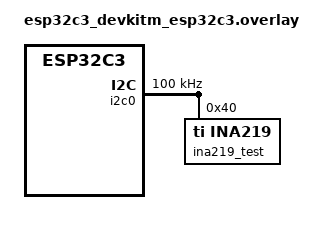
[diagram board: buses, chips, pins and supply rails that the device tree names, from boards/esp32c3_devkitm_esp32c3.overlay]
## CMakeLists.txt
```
cmake_minimum_required(VERSION 3.20.0)

list(APPEND BOARD_ROOT ${CMAKE_CURRENT_SOURCE_DIR})

find_package(Zephyr REQUIRED HINTS $ENV{ZEPHYR_BASE})
project(esp32c3_app)

find_package(Python3 REQUIRED COMPONENTS Interpreter)

add_subdirectory(subsys/connectivity)
add_subdirectory(subsys/services/secure_workspace)

target_sources(app PRIVATE
  subsys/services/service_manager.c
  subsys/services/service_thread.c
  subsys/services/service_registry.c
)

add_custom_target(spaghetti_validator
  COMMAND
    ${Python3_EXECUTABLE}
    ${CMAKE_CURRENT_SOURCE_DIR}/validator
    --cmake-sources
    "$<TARGET_GENEX_EVAL:app,$<JOIN:$<TARGET_PROPERTY:app,SOURCES>,|>>"
    --cmake-includes
    "$<TARGET_GENEX_EVAL:app,$<JOIN:$<TARGET_PROPERTY:app,INCLUDE_DIRECTORIES>,|>>"
  WORKING_DIRECTORY ${CMAKE_CURRENT_SOURCE_DIR}
  DEPENDS
    ${CMAKE_CURRENT_SOURCE_DIR}/validator
    ${CMAKE_CURRENT_SOURCE_DIR}/FIRMWARE_IMPLEMENTATION_GUIDE.md
  COMMENT "Validating Spaghetti LAB firmware conventions"
  VERBATIM
  USES_TERMINAL
)

add_dependencies(app spaghetti_validator)

target_sources(app PRIVATE
  src/main.c
  spaghetti_modules/ina219/ina219.c
  spaghetti_modules/relay/relay.c
  spaghetti_modules/declarative_device/declarative_device.c
  spaghetti_modules/digital_input_trigger/digital_input_trigger.c
  spaghetti_modules/digital_line_set/digital_line_set.c
  spaghetti_modules/on_boot/on_boot.c
  spaghetti_rules/threshold/threshold.c
  spaghetti_blocks/blocks_math.c
  spaghetti_blocks/blocks_bitwise.c
  spaghetti_blocks/blocks_filter.c
  spaghetti_blocks/blocks_logic.c
  spaghetti_blocks/blocks_table.c
  spaghetti_blocks/blocks_publish.c
  spaghetti_blocks/blocks_kalman.c
  subsys/core/capabilities.c
  subsys/core/core.c
  subsys/core/core_boot_backend.c
  subsys/core/factory_reset.c
  subsys/core/health.c
  subsys/feature_registry/feature_registry.c
  subsys/feature_registry/image_manifest.c
  subsys/feature_registry/pack_core_basic.c
  subsys/feature_registry/pack_processing_basic.c
  subsys/feature_registry/pack_processing_kalman.c
  subsys/feature_registry/pack_device_profile.c
  subsys/feature_registry/pack_transport_modbus.c
  subsys/resources/resources.c
  subsys/resources/resources_note_weak.c
  subsys/port/port.c
  subsys/port/port_backend_board.c
  subsys/topology/topology.c
  subsys/schema/schema.c
  subsys/device_profiles/device_profile.c
  subsys/device_profiles/device_profile_exec.c
  subsys/driver_registry/driver_registry.c
  subsys/rule_registry/rule_registry.c
  subsys/block_registry/block_registry.c
  subsys/module_manager/module_manager.c
  subsys/discovery/discovery.c
  subsys/discovery/identity_record.c
  subsys/config/config.c
  subsys/config/config_cbor.c
  subsys/config/config_cbor_legacy.c
  subsys/config/legacy_driver_config.c
  subsys/services/storage/storage.c
  subsys/services/storage/storage_legacy_v3.c
  subsys/services/identity/identity.c
  subsys/services/identity/access_control.c
  subsys/services/maintenance_link/maintenance_link.c
  subsys/services/maintenance_link/maintenance_mgmt.c
  subsys/services/ota/ota.c
  subsys/services/ota/ota_ble.c
  subsys/services/update/update.c
  subsys/services/update/update_mcuboot.c
  subsys/data/data.c
  subsys/data/record_delivery.c
  subsys/data/record_consumer_ble.c
  subsys/services/timer/timer.c
  subsys/processing/processing.c
  subsys/runtime/runtime.c
  subsys/communication/communication.c
  subsys/communication/protocol_cbor.c
  subsys/communication/protocol_status.c
  subsys/communication/ops_helpers.c
  subsys/communication/communication_shell.c
  subsys/communication/usb_protocol_framing.c
  subsys/communication/usb_protocol.c
  subsys/communication/remote_console.c
  subsys/communication/operations/catalog.c
  subsys/communication/operations/status.c
  subsys/communication/operations/config_ops.c
  subsys/communication/operations/discovery_ops.c
  subsys/communication/operations/module_command.c
  subsys/communication/operations/update_ops.c
  subsys/communication/operations/capabilities_ops.c
  subsys/communication/operations/connectivity_ops.c
  subsys/communication/operations/reset_ops.c
  subsys/communication/operations/audit_ops.c
  subsys/communication/operations/job_ops.c
  subsys/communication/operations/topology_ops.c
  subsys/communication/operations/resources_ops.c
  subsys/communication/operations/features_ops.c
  subsys/communication/operations/device_profile_ops.c
  subsys/services/mqtt/mqtt_credentials.c
)

if(CONFIG_WIFI)
  target_sources(app PRIVATE
    subsys/services/wifi_profiles/wifi_profiles.c
    subsys/services/wifi_profiles/wifi_profiles_storage.c
    subsys/services/ota/ota_dtls.c
  )
else()
  target_sources(app PRIVATE
    subsys/services/wifi_profiles/wifi_profiles_disabled.c
    subsys/services/ota/ota_dtls_disabled.c
  )
endif()

if(CONFIG_MQTT_LIB)
  target_sources(app PRIVATE
    subsys/services/mqtt/mqtt.c
  )
else()
  target_sources(app PRIVATE
    subsys/services/mqtt/mqtt_disabled.c
  )
endif()

if(CONFIG_SPAGHETTI_REMOTE_CONSOLE)
  target_sources(app PRIVATE
    subsys/communication/remote_console_tls.c
  )
else()
  target_sources(app PRIVATE
    subsys/communication/remote_console_disabled.c
  )
endif()

if(CONFIG_BT)
  target_sources(app PRIVATE
    subsys/communication/ble.c
  )
else()
  target_sources(app PRIVATE
    subsys/communication/ble_disabled.c
  )
endif()

target_sources_ifdef(CONFIG_SPAGHETTI_POWER app PRIVATE
  subsys/power/power.c
)

target_sources_ifdef(CONFIG_SPAGHETTI_ENERGY app PRIVATE
  subsys/power/energy.c
)

zephyr_linker_sources(SECTIONS subsys/core/health_sections.ld)
zephyr_linker_sources(SECTIONS subsys/driver_registry/driver_sections.ld)
zephyr_linker_sources(SECTIONS subsys/rule_registry/rule_sections.ld)
zephyr_linker_sources(SECTIONS subsys/block_registry/block_sections.ld)
zephyr_linker_sources(SECTIONS subsys/device_profiles/device_profile_sections.ld)
zephyr_linker_sources(SECTIONS subsys/data/record_delivery_sections.ld)
zephyr_linker_sources(SECTIONS subsys/feature_registry/feature_pack_sections.ld)
zephyr_linker_sources(SECTIONS subsys/discovery/discovery_sections.ld)
zephyr_linker_sources(SECTIONS subsys/communication/operation_sections.ld)

get_target_property(APP_SRCS app SOURCES)

message(STATUS "========== APP SOURCES ==========")
foreach(src ${APP_SRCS})
    message(STATUS "  ${src}")
endforeach()

target_include_directories(app PRIVATE
  ${CMAKE_CURRENT_SOURCE_DIR}/include
  ${CMAKE_CURRENT_SOURCE_DIR}/spaghetti_modules/ina219
  ${CMAKE_CURRENT_SOURCE_DIR}/spaghetti_modules/relay
  ${CMAKE_CURRENT_SOURCE_DIR}/spaghetti_modules/declarative_device
  ${CMAKE_CURRENT_SOURCE_DIR}/spaghetti_modules/digital_input_trigger
  ${CMAKE_CURRENT_SOURCE_DIR}/spaghetti_modules/digital_line_set
  ${CMAKE_CURRENT_SOURCE_DIR}/spaghetti_modules/on_boot
  ${CMAKE_CURRENT_SOURCE_DIR}/spaghetti_rules/threshold
  ${CMAKE_CURRENT_SOURCE_DIR}/spaghetti_blocks
)

get_target_property(APP_INCLUDES app INCLUDE_DIRECTORIES)

message(STATUS "========== APP INCLUDE DIRS ==========")

foreach(dir ${APP_INCLUDES})
    message(STATUS "  ${dir}")
endforeach()

message(STATUS "======================================")
```

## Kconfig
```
module = SPAGHETTI_APP
module-str = spaghetti_app
source "subsys/logging/Kconfig.template.log_config"

module = SPAGHETTI_CORE
module-str = spaghetti_core
source "subsys/logging/Kconfig.template.log_config"

module = SPAGHETTI_IDENTITY
module-str = spaghetti_identity
source "subsys/logging/Kconfig.template.log_config"

module = SPAGHETTI_ACCESS_CONTROL
module-str = spaghetti_access_control
source "subsys/logging/Kconfig.template.log_config"

module = SPAGHETTI_FACTORY_RESET
module-str = spaghetti_factory_reset
source "subsys/logging/Kconfig.template.log_config"

rsource "subsys/core/Kconfig.health"

module = SPAGHETTI_PORT
module-str = spaghetti_port
source "subsys/logging/Kconfig.template.log_config"

module = SPAGHETTI_TOPOLOGY
module-str = spaghetti_topology
source "subsys/logging/Kconfig.template.log_config"

module = SPAGHETTI_SCHEMA
module-str = spaghetti_schema
source "subsys/logging/Kconfig.template.log_config"

module = SPAGHETTI_DRIVER_REGISTRY
module-str = spaghetti_driver_registry
source "subsys/logging/Kconfig.template.log_config"

module = SPAGHETTI_DEVICE_PROFILE
module-str = spaghetti_device_profile
source "subsys/logging/Kconfig.template.log_config"

module = SPAGHETTI_DECLARATIVE_DEVICE
module-str = spaghetti_declarative_device
source "subsys/logging/Kconfig.template.log_config"

module = SPAGHETTI_MODULE_MANAGER
module-str = spaghetti_module_manager
source "subsys/logging/Kconfig.template.log_config"

module = SPAGHETTI_DISCOVERY
module-str = spaghetti_discovery
source "subsys/logging/Kconfig.template.log_config"

module = SPAGHETTI_POWER
module-str = spaghetti_power
source "subsys/logging/Kconfig.template.log_config"

rsource "subsys/power/Kconfig"

module = SPAGHETTI_CONFIG
module-str = spaghetti_config
source "subsys/logging/Kconfig.template.log_config"

module = SPAGHETTI_RULE_REGISTRY
module-str = spaghetti_rule_registry
source "subsys/logging/Kconfig.template.log_config"

module = SPAGHETTI_BLOCK_REGISTRY
module-str = spaghetti_block_registry
source "subsys/logging/Kconfig.template.log_config"

module = SPAGHETTI_PROCESSING
module-str = spaghetti_processing
source "subsys/logging/Kconfig.template.log_config"

module = SPAGHETTI_STORAGE
module-str = spaghetti_storage
source "subsys/logging/Kconfig.template.log_config"

module = SPAGHETTI_UPDATE
module-str = spaghetti_update
source "subsys/logging/Kconfig.template.log_config"

module = SPAGHETTI_MAINTENANCE_LINK
module-str = spaghetti_maintenance_link
source "subsys/logging/Kconfig.template.log_config"

module = SPAGHETTI_OTA
module-str = spaghetti_ota
source "subsys/logging/Kconfig.template.log_config"

module = SPAGHETTI_DATA
module-str = spaghetti_data
source "subsys/logging/Kconfig.template.log_config"

module = SPAGHETTI_RECORD_DELIVERY
module-str = spaghetti_record_delivery
source "subsys/logging/Kconfig.template.log_config"

module = SPAGHETTI_RUNTIME
module-str = spaghetti_runtime
source "subsys/logging/Kconfig.template.log_config"

module = SPAGHETTI_THRESHOLD
module-str = spaghetti_threshold
source "subsys/logging/Kconfig.template.log_config"

module = SPAGHETTI_COMMUNICATION
module-str = spaghetti_communication
source "subsys/logging/Kconfig.template.log_config"

module = SPAGHETTI_REMOTE_CONSOLE
module-str = spaghetti_remote_console
source "subsys/logging/Kconfig.template.log_config"

module = SPAGHETTI_BLE
module-str = spaghetti_ble
source "subsys/logging/Kconfig.template.log_config"

module = SPAGHETTI_MQTT
module-str = spaghetti_mqtt
source "subsys/logging/Kconfig.template.log_config"

module = SPAGHETTI_WIFI_PROFILES
module-str = spaghetti_wifi_profiles
source "subsys/logging/Kconfig.template.log_config"

module = SPAGHETTI_SERVICE_MANAGER
module-str = spaghetti_service_manager
source "subsys/logging/Kconfig.template.log_config"

module = SPAGHETTI_INA219
module-str = spaghetti_ina219
source "subsys/logging/Kconfig.template.log_config"

module = SPAGHETTI_RELAY
module-str = spaghetti_relay
source "subsys/logging/Kconfig.template.log_config"

rsource "Kconfig.resources"
rsource "subsys/connectivity/Kconfig"
rsource "subsys/services/secure_workspace/Kconfig"
rsource "subsys/feature_registry/Kconfig"
rsource "subsys/resources/Kconfig"

config SPAGHETTI_SERVICE_MAX_COUNT
	int "Maximum registered optional services"
	range 1 16
	default 4
	help
	  Fixed Service Manager state slots. Descriptors and operation tables remain
	  firmware-owned and are never copied to the heap.

config SPAGHETTI_SERVICE_ID_MAX_SIZE
	int "Maximum service ID bytes including NUL"
	range 8 32
	default 24

config SPAGHETTI_SERVICE_STOP_MAX_MS
	int "Maximum optional-service stop wait in milliseconds"
	range 1 30000
	default 10000
	help
	  K_FOREVER is rejected so every lifecycle transition has a deadline.

config SPAGHETTI_SERVICE_THREAD_MAX_COUNT
	int "Maximum simultaneous optional-service threads"
	range 1 16
	default 4 if SPAGHETTI_RESOURCE_PROFILE_MINIMAL
	default 6 if SPAGHETTI_RESOURCE_PROFILE_STANDARD
	default 8

config SPAGHETTI_SERVICE_THREAD_MAX_STACK_BYTES
	int "Maximum simultaneous optional-service stack bytes"
	range 4096 65536
	default 16384 if SPAGHETTI_RESOURCE_PROFILE_MINIMAL
	default 24576 if SPAGHETTI_RESOURCE_PROFILE_STANDARD
	default 32768
	help
	  Admission limit applied before heap-backed dynamic stack allocation.
	  A stopped and joined service returns its complete stack to the common heap.

config HEAP_MEM_POOL_SIZE
	default 20480 if SPAGHETTI_RESOURCE_PROFILE_MINIMAL
	default 28672 if SPAGHETTI_RESOURCE_PROFILE_STANDARD
	default 36864 if SPAGHETTI_RESOURCE_PROFILE_EXTENDED
	help
	  Reserve the Zephyr system heap used by k_thread_stack_alloc(). Each value
	  covers the corresponding Spaghetti optional-stack admission limit plus
	  allocator metadata and alignment overhead.

config SPAGHETTI_DISCOVERY_MAX_RESULTS
	int "Maximum number of retained Discovery candidates"
	range 1 SPAGHETTI_MAX_MODULES
	default SPAGHETTI_MAX_MODULES
	help
	  Fixed capacity of the Discovery candidate table. Several candidates may
	  reference the same physical Port. Manual Modules do not consume slots.

config SPAGHETTI_POWER
	bool "Enable shared controllable power resources"
	default n
	help
	  Enable only when the selected Core has a verified controllable rail.
	  Core V1 has no such hardware and must leave this disabled.

config SPAGHETTI_POWER_FAKE_BACKEND
	bool
	depends on SPAGHETTI_POWER
	default n
	help
	  Test-only backend that exposes resource 0 without physical hardware.

config SPAGHETTI_INA219_MAX_INSTANCES
	int "Maximum number of simultaneous INA219 instances"
	range 1 SPAGHETTI_MAX_MODULES
	default 4
	help
	  Number of typed INA219 contexts reserved in the driver-owned memory
	  slab. Allocation is non-blocking and does not use the heap.

config SPAGHETTI_RELAY_MAX_INSTANCES
	int "Maximum number of simultaneous Relay instances"
	range 1 SPAGHETTI_MAX_MODULES
	default 4
	help
	  Number of typed Relay contexts reserved in the driver-owned memory slab.
	  Allocation is non-blocking and does not use the heap.

config SPAGHETTI_DECLARATIVE_DEVICE_MAX_INSTANCES
	int "Maximum simultaneous declarative-device instances"
	range 1 SPAGHETTI_MAX_MODULES
	default 4
	help
	  Number of typed declarative-device contexts reserved in the driver-owned
	  memory slab. Allocation is non-blocking and does not use the heap.

config SPAGHETTI_DATA_LOGGER
	bool "Enable the Data record logger consumer"
	default y
	help
	  Start one bounded thread that drains the record logger subscriber
	  and writes schema-agnostic records through Zephyr logging.

config SPAGHETTI_DATA_LOGGER_STACK_SIZE
	int "Data record logger stack size"
	depends on SPAGHETTI_DATA_LOGGER
	range 1024 8192
	default 2048
	help
	  Static stack bytes reserved for the record logger consumer. Must fit
	  one spaghetti_record plus logging locals.

config SPAGHETTI_DATA_LOGGER_PRIORITY
	int "Data record logger thread priority"
	depends on SPAGHETTI_DATA_LOGGER
	range 0 15
	default 5
	help
	  Cooperative-independent preemptive priority used by the logger thread.

config SPAGHETTI_RUNTIME_STACK_SIZE
	int "Runtime worker thread stack size"
	range 2048 8192
	default 3072
	help
	  Static stack bytes reserved for the Runtime worker. Must fit one
	  spaghetti_record plus schedule and rule locals.

config SPAGHETTI_RUNTIME_PRIORITY
	int "Runtime worker thread priority"
	range 0 14
	default 4
	help
	  Preemptive priority used by the Runtime worker. The default is one
	  level above the Data logger so acquisition is not delayed by logging.

config SPAGHETTI_RUNTIME_STOP_TIMEOUT_MS
	int "Runtime stop timeout in milliseconds"
	range 10 5000
	default 1000
	help
	  Maximum time Config waits for an active sampling operation to finish
	  before it refuses to replace live Modules.

config SPAGHETTI_THRESHOLD_MAX_INSTANCES
	int "Maximum simultaneous Threshold rule instances"
	range 1 SPAGHETTI_MAX_RULES
	default SPAGHETTI_MAX_RULES
	help
	  Number of typed Threshold contexts reserved in the rule-owned memory
	  slab. Allocation is non-blocking and does not use the heap.

config SPAGHETTI_UPDATE_WORK_STACK_SIZE
	int "Update cleanup workqueue stack size"
	range 768 4096
	default 1024
	help
	  Static stack bytes reserved for timeout cleanup of the secondary image.

config SPAGHETTI_UPDATE_WORK_PRIORITY
	int "Update cleanup workqueue priority"
	range 0 15
	default 5
	help
	  Preemptive priority used by the Update-owned flash cleanup workqueue.

config SPAGHETTI_BOOTSTRAP_PROBE_MS
	int "Receive-only maintenance bootstrap window in milliseconds"
	range 10 5000
	default 500
	help
	  Maximum boot-time receive-only probe used when a valid Config exists.

config SPAGHETTI_TRIAL_HEALTH_MS
	int "Trial image health window in milliseconds"
	range 100 60000
	default 5000
	help
	  Stable RUNNING time required before Core confirms a trial image.

config SPAGHETTI_MAINTENANCE_SESSION_MS
	int "Maximum local firmware-upload session in milliseconds"
	range 10000 900000
	default 300000
	help
	  Absolute Update deadline opened by the first accepted UART image chunk.

config SPAGHETTI_MAINTENANCE_REBOOT_DELAY_MS
	int "Delay before reboot after a maintenance response"
	range 100 5000
	default 500
	help
	  Time reserved for the final SMP UART response to leave the transmitter.

config SPAGHETTI_OTA_PORT
	int "Authenticated OTA UDP port"
	range 1024 65535
	default 1337
	help
	  UDP port opened only during an authenticated OTA window.

config SPAGHETTI_OTA_MAX_WINDOW_MS
	int "Maximum authenticated OTA window in milliseconds"
	range 10000 900000
	default 300000
	help
	  Upper bound accepted from the local maintenance command. The complete
	  transfer, including interruptions and retries, must finish in this time.

config SPAGHETTI_OTA_MTU
	int "Maximum OTA SMP datagram bytes"
	range 256 1024
	default 512
	help
	  Maximum complete SMP request or response carried by one DTLS datagram.

config SPAGHETTI_OTA_BLE_RESUME_MS
	int "BLE OTA disconnect resume window in milliseconds"
	range 100 60000
	default 10000
	help
	  After a BLE peer disconnect during an active BLE Update session, the
	  adapter waits this long for the same session to continue. On expiry
	  the secondary candidate is cancelled without touching the confirmed
	  image.

config SPAGHETTI_OTA_BLE_WINDOW_MS
	int "BLE OTA whole-session timeout in milliseconds"
	range 10000 900000
	default 300000
	help
	  Absolute Update arm timeout used when a BLE adapter opens a session.

config SPAGHETTI_OTA_LISTENER_STACK_SIZE
	int "OTA DTLS listener stack bytes"
	range 2048 8192
	default 4096
	help
	  Static stack reserved for the authenticated DTLS receive thread.

config SPAGHETTI_OTA_WORK_STACK_SIZE
	int "OTA lifecycle workqueue stack bytes"
	range 1024 4096
	default 1536
	help
	  Static stack reserved for timeout and cleanup operations.

config SPAGHETTI_REMOTE_CONSOLE_PORT
	int "Authenticated remote-console TCP port"
	range 1024 65535
	default 1338
	help
	  TCP port used by the TLS-PSK remote console. The listener is opened only
	  in Normal mode and only when a dedicated credential is provisioned.

config SPAGHETTI_REMOTE_CONSOLE_STACK_SIZE
	int "Remote-console listener stack bytes"
	range 4096 12288
	default 6144
	help
	  Static stack reserved for the TLS socket and bounded command dispatcher.

config SPAGHETTI_REMOTE_CONSOLE_PRIORITY
	int "Remote-console listener priority"
	range 0 15
	default 5
	help
	  Preemptive priority of the single-client remote-console thread.

config SPAGHETTI_REMOTE_CONSOLE_LINE_SIZE
	int "Maximum remote command line bytes"
	range 128 1024
	default 600
	help
	  Fixed input buffer including the terminating null byte.

config SPAGHETTI_REMOTE_CONSOLE_RESPONSE_SIZE
	int "Maximum formatted remote response bytes"
	range 128 1024
	default 256
	help
	  Fixed temporary buffer used for one formatted response line.

config SPAGHETTI_REMOTE_CONSOLE_LOG_CHUNK_SIZE
	int "Maximum copied log chunk bytes"
	range 64 512
	default 256
	help
	  Fixed size of each log copy. Longer backend fragments are truncated.

config SPAGHETTI_REMOTE_CONSOLE_LOG_QUEUE_DEPTH
	int "Remote-console log queue depth"
	range 2 32
	default 8
	help
	  Number of static log chunks. The oldest chunk is dropped when full.

config SPAGHETTI_REMOTE_CONSOLE_POLL_MS
	int "Remote-console poll period in milliseconds"
	range 10 1000
	default 100
	help
	  Maximum delay for socket events and queued log forwarding.

config SPAGHETTI_REMOTE_CONSOLE_IDLE_TIMEOUT_MS
	int "Remote-console inactivity timeout in milliseconds"
	range 10000 3600000
	default 300000
	help
	  A connected authenticated client is closed after this idle interval.

config SPAGHETTI_REMOTE_CONSOLE_CREDENTIAL_INPUT_TIMEOUT_SECONDS
	int "USB remote-console credential input timeout in seconds"
	range 10 300
	default 60
	help
	  Maximum hidden-input wait used only by the local development USB Shell.

config SPAGHETTI_BLE
	bool
	default y
	depends on BT
	help
	  Compile the authenticated BLE Protocol V1 adapter. Selected automatically
	  when CONFIG_BT is enabled so capability snapshots stay accurate.

config SPAGHETTI_BLE_REASSEMBLY_TIMEOUT_MS
	int "BLE request reassembly timeout in milliseconds"
	depends on BT
	range 100 60000
	default 5000
	help
	  Incomplete framed requests are discarded after this idle interval.

config SPAGHETTI_BLE_EVENT_CREDIT
	int "BLE event notify credit per authenticated peer"
	depends on BT
	range 1 16
	default 4
	help
	  Bounded notify credit. Exhausted credit increments event_dropped.

config SPAGHETTI_OTA_WORK_PRIORITY
	int "OTA lifecycle workqueue priority"
	range 0 15
	default 5
	help
	  Preemptive priority shared by the OTA lifecycle and receive threads.

config SPAGHETTI_MQTT_QUEUE_DEPTH
	int "MQTT outbound publication queue depth"
	range 1 16
	default 4
	help
	  Fixed number of copied best-effort record publications retained while the
	  network or broker is unavailable. A full queue drops the newest record.
	  Priority state/response publications use a separate pool.

config SPAGHETTI_MQTT_PRIORITY_QUEUE_DEPTH
	int "MQTT priority (state/response) queue depth"
	range 1 16
	default 4
	help
	  Fixed number of QoS 1 state and response publications. A full priority
	  queue returns -ENOMSG without silently dropping config/command work.

config SPAGHETTI_MQTT_WORKER_STACK_SIZE
	int "MQTT network worker stack size"
	range 2048 8192
	default 4096
	help
	  Static stack bytes reserved for DNS, socket, and MQTT client work.

config SPAGHETTI_MQTT_ADAPTER_STACK_SIZE
	int "MQTT Data adapter stack size"
	range 1024 4096
	default 2048
	help
	  Static stack bytes reserved for Record Delivery peek/ack and Protocol V1
	  event encoding into the outbound publication queues.

config SPAGHETTI_MQTT_PRIORITY
	int "MQTT worker and adapter priority"
	range 0 15
	default 5
	help
	  Preemptive priority used by both MQTT-owned threads.

config SPAGHETTI_MQTT_STOP_TIMEOUT_MS
	int "MQTT stop timeout in milliseconds"
	range 100 10000
	default 2000
	help
	  Maximum time Config waits for the worker to stop before rejecting a new
	  MQTT configuration.

config SPAGHETTI_MQTT_ALLOW_PLAINTEXT_DEVELOPMENT
	bool "Allow MQTT plaintext development transport"
	default n
	help
	  When disabled (production default), Config cannot select
	  SPAGHETTI_MQTT_SECURITY_PLAINTEXT_DEVELOPMENT. Enable only on
	  development boards that intentionally talk to a cleartext broker.

config SPAGHETTI_MQTT_CREDENTIAL_SLOTS
	int "MQTT credential vault slots"
	range 1 8
	default 4
	help
	  Number of PSA ITS credential records addressable by credential_id 1..N.

config SPAGHETTI_MQTT_CREDENTIAL_CA_MAX_SIZE
	int "Maximum MQTT CA certificate bytes"
	range 32 2048
	default 512
	help
	  Upper bound for borrowed CA material stored in one credential record.

config SPAGHETTI_MQTT_CREDENTIAL_CERT_MAX_SIZE
	int "Maximum MQTT client certificate bytes"
	range 32 2048
	default 512
	help
	  Upper bound for borrowed client certificate material.

config SPAGHETTI_MQTT_CREDENTIAL_KEY_MAX_SIZE
	int "Maximum MQTT private key bytes"
	range 32 2048
	default 512
	help
	  Upper bound for borrowed private key material.

config SPAGHETTI_MQTT_TEST_HOOKS
	bool "Expose MQTT transport test hooks"
	depends on ZTEST
	default y if ZTEST
	help
	  Allows native tests to inject a stub broker transport and request
	  payloads without opening real sockets.

config SPAGHETTI_WIFI_PROFILE_MAX_COUNT
	int "Maximum number of persistent Wi-Fi profiles"
	range 1 8
	default 4
	help
	  Fixed number of encrypted profile slots. The service uses no heap, so a
	  larger value reserves more static RAM and persistent records.

config SPAGHETTI_WIFI_PROFILE_AUTO_CONNECT
	bool "Automatically connect to a known Wi-Fi network"
	default y
	help
	  Scan after boot and disconnection. A visible preferred profile is tried
	  first; other visible profiles are tried by descending signal strength.

config SPAGHETTI_WIFI_PROFILE_WORKER_STACK_SIZE
	int "Wi-Fi profile worker stack size"
	depends on SPAGHETTI_WIFI_PROFILE_AUTO_CONNECT
	range 2048 8192
	default 4096

config SPAGHETTI_WIFI_PROFILE_WORKER_PRIORITY
	int "Wi-Fi profile worker priority"
	depends on SPAGHETTI_WIFI_PROFILE_AUTO_CONNECT
	range 0 15
	default 5

config SPAGHETTI_WIFI_PROFILE_STARTUP_DELAY_MS
	int "Delay before the first automatic Wi-Fi scan"
	depends on SPAGHETTI_WIFI_PROFILE_AUTO_CONNECT
	range 0 10000
	default 3000
	help
	  Give the SoC radio and network stack time to settle after boot before the
	  first automatic scan. Later manual reconnects and retries are immediate.

config SPAGHETTI_WIFI_SCAN_TIMEOUT_SECONDS
	int "Wi-Fi scan timeout in seconds"
	depends on SPAGHETTI_WIFI_PROFILE_AUTO_CONNECT
	range 1 60
	default 15

config SPAGHETTI_WIFI_CONNECT_TIMEOUT_SECONDS
	int "Wi-Fi connection timeout in seconds"
	depends on SPAGHETTI_WIFI_PROFILE_AUTO_CONNECT
	range 1 120
	default 30

config SPAGHETTI_WIFI_DISCONNECT_TIMEOUT_SECONDS
	int "Wi-Fi disconnection timeout in seconds"
	depends on SPAGHETTI_WIFI_PROFILE_AUTO_CONNECT
	range 1 30
	default 5

config SPAGHETTI_WIFI_RETRY_SECONDS
	int "Wi-Fi reselection interval in seconds"
	depends on SPAGHETTI_WIFI_PROFILE_AUTO_CONNECT
	range 1 3600
	default 30

config SPAGHETTI_WIFI_PASSWORD_INPUT_TIMEOUT_SECONDS
	int "Hidden Wi-Fi password prompt timeout in seconds"
	range 10 300
	default 60

source "Kconfig.zephyr"
```

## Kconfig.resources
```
choice SPAGHETTI_RESOURCE_PROFILE
	prompt "Spaghetti LAB resource profile"
	default SPAGHETTI_RESOURCE_PROFILE_MINIMAL if BOARD_SPAGHETTILAB_CORE_V1
	default SPAGHETTI_RESOURCE_PROFILE_MINIMAL if BOARD_SPAGHETTILAB_CORE_V2_BUILD_ONLY
	default SPAGHETTI_RESOURCE_PROFILE_MINIMAL
	help
	  Select one build-time resource budget. Runtime free memory never changes
	  this choice or the fixed capacities derived from it.

config SPAGHETTI_RESOURCE_PROFILE_MINIMAL
	bool "Minimal"
	help
	  ESP32-C3-class profile with one heavy secure session and no production
	  remote console.

config SPAGHETTI_RESOURCE_PROFILE_STANDARD
	bool "Standard"
	help
	  Mid-range profile with larger bounded pools and optional remote console.

config SPAGHETTI_RESOURCE_PROFILE_EXTENDED
	bool "Extended"
	help
	  Profile for a Core with verified additional RAM and larger bounded pools.

endchoice

config SPAGHETTI_CORE_VARIANT
	string
	default "core-v1-esp32c3" if BOARD_SPAGHETTILAB_CORE_V1
	default "core-v2-build-only" if BOARD_SPAGHETTILAB_CORE_V2_BUILD_ONLY
	default "native-sim"
	help
	  Stable Core variant identifier published by the firmware artifact.

config SPAGHETTI_HAS_EXTERNAL_RAM
	bool
	default n
	help
	  Board-owned declaration that usable external RAM is physically present.

config SPAGHETTI_RUNTIME_PORT_MUX
	bool
	default n
	help
	  Board-owned declaration that Port signals have a real runtime pinmux
	  backend. Dynamic pinctrl support alone is not sufficient.

config SPAGHETTI_POWER_MEASUREMENT
	bool
	depends on SPAGHETTI_POWER
	default n
	help
	  Board-owned declaration that shared power resources can be measured.

config SPAGHETTI_REMOTE_CONSOLE
	bool "Compile the authenticated production remote console"
	default n if SPAGHETTI_RESOURCE_PROFILE_MINIMAL
	default y
	help
	  Compile the TLS remote-console backend. Minimal images retain local Shell
	  and maintenance APIs but use a small unsupported backend instead.

config SPAGHETTI_MAX_MODULES
	int "Maximum number of simultaneous runtime Modules"
	range 1 255
	default 8 if SPAGHETTI_RESOURCE_PROFILE_MINIMAL
	default 16 if SPAGHETTI_RESOURCE_PROFILE_STANDARD
	default 32

config SPAGHETTI_MAX_SCHEDULES
	int
	range 1 255
	default 8 if SPAGHETTI_RESOURCE_PROFILE_MINIMAL
	default 16 if SPAGHETTI_RESOURCE_PROFILE_STANDARD
	default 32

config SPAGHETTI_MAX_RULES
	int
	range 1 255
	default 4 if SPAGHETTI_RESOURCE_PROFILE_MINIMAL
	default 8 if SPAGHETTI_RESOURCE_PROFILE_STANDARD
	default 16

config SPAGHETTI_MAX_DEVICE_PROFILES
	int
	range 1 255
	default 8 if SPAGHETTI_RESOURCE_PROFILE_MINIMAL
	default 16 if SPAGHETTI_RESOURCE_PROFILE_STANDARD
	default 32

config SPAGHETTI_MAX_DEVICE_PROFILE_BYTES
	int
	range 128 4096
	default 512 if SPAGHETTI_RESOURCE_PROFILE_MINIMAL
	default 1024 if SPAGHETTI_RESOURCE_PROFILE_STANDARD
	default 2048

config SPAGHETTI_MAX_PROFILE_OPERATIONS
	int
	range 1 255
	default 16 if SPAGHETTI_RESOURCE_PROFILE_MINIMAL
	default 32 if SPAGHETTI_RESOURCE_PROFILE_STANDARD
	default 64

config SPAGHETTI_MAX_ACQUISITION_OPERATIONS
	int
	range 1 255
	default 16 if SPAGHETTI_RESOURCE_PROFILE_MINIMAL
	default 32 if SPAGHETTI_RESOURCE_PROFILE_STANDARD
	default 64

config SPAGHETTI_MAX_PROCESSING_BLOCKS
	int
	range 1 255
	default 16 if SPAGHETTI_RESOURCE_PROFILE_MINIMAL
	default 32 if SPAGHETTI_RESOURCE_PROFILE_STANDARD
	default 64

config SPAGHETTI_MAX_PROCESSING_EDGES
	int
	range 1 255
	default 24 if SPAGHETTI_RESOURCE_PROFILE_MINIMAL
	default 64 if SPAGHETTI_RESOURCE_PROFILE_STANDARD
	default 128

config SPAGHETTI_MAX_PROCESSING_CONTEXTS
	int
	range 1 255
	default 8 if SPAGHETTI_RESOURCE_PROFILE_MINIMAL
	default 16 if SPAGHETTI_RESOURCE_PROFILE_STANDARD
	default 32

config SPAGHETTI_PROCESSING_COST_BUDGET
	int "Maximum abstract cost units per trigger record"
	range 1 65535
	default 256 if SPAGHETTI_RESOURCE_PROFILE_MINIMAL
	default 512 if SPAGHETTI_RESOURCE_PROFILE_STANDARD
	default 1024
	help
	  Sum of block max_cost_per_record values spent while evaluating one
	  source record. Exceeding the budget aborts only that evaluation.

config SPAGHETTI_PROCESSING_DEPTH_MAX
	int "Maximum topological depth of a processing graph"
	range 1 255
	default 8 if SPAGHETTI_RESOURCE_PROFILE_MINIMAL
	default 16 if SPAGHETTI_RESOURCE_PROFILE_STANDARD
	default 32
	help
	  Longest path length accepted when compiling a processing DAG.

config SPAGHETTI_BLOCK_KALMAN
	bool "Compile the optional Kalman block driver"
	default n
	help
	  When enabled, the Kalman Block Driver is linked into the Block
	  Registry and may be instantiated from Config like any other block.

config SPAGHETTI_MAX_PROPERTIES_PER_SET
	int
	range 1 64
	default 12 if SPAGHETTI_RESOURCE_PROFILE_MINIMAL
	default 16 if SPAGHETTI_RESOURCE_PROFILE_STANDARD
	default 24

config SPAGHETTI_VALUE_BYTES_MAX
	int
	range 1 128
	default 16 if SPAGHETTI_RESOURCE_PROFILE_MINIMAL
	default 32 if SPAGHETTI_RESOURCE_PROFILE_STANDARD
	default 64
	help
	  Maximum owned opaque bytes in one SPAGHETTI_VALUE_BYTES field.

config SPAGHETTI_VALUE_TEXT_MAX
	int
	range 1 128
	default 32 if SPAGHETTI_RESOURCE_PROFILE_MINIMAL
	default 48 if SPAGHETTI_RESOURCE_PROFILE_STANDARD
	default 64
	help
	  Maximum UTF-8 payload bytes in one SPAGHETTI_VALUE_TEXT field,
	  excluding the mandatory terminating NUL.

config SPAGHETTI_MAX_PROTOCOL_PAYLOAD
	int
	range 128 2048
	default 512 if SPAGHETTI_RESOURCE_PROFILE_MINIMAL
	default 1024 if SPAGHETTI_RESOURCE_PROFILE_STANDARD
	default 2048

config SPAGHETTI_CONFIG_CBOR_MAX_SIZE
	int
	range 128 2048
	default SPAGHETTI_MAX_PROTOCOL_PAYLOAD
	help
	  Maximum accepted Config CBOR payload size for encode, decode, and
	  Storage persistence.

config SPAGHETTI_CONFIG_MIN_WRITE_INTERVAL_MS
	int
	range 0 60000
	default 1000
	help
	  Minimum wall-clock interval between distinct persistent Config writes.
	  Identical no-op applies do not consume the budget. Zero disables the
	  rate limit.

config SPAGHETTI_MAX_RECORD_QUEUE
	int "Maximum retained records in the delivery ring"
	range 1 255
	default 8 if SPAGHETTI_RESOURCE_PROFILE_MINIMAL
	default 16 if SPAGHETTI_RESOURCE_PROFILE_STANDARD
	default 32

config SPAGHETTI_MAX_RECORD_CONSUMERS
	int "Maximum compiled record delivery consumers"
	range 1 16
	default 3 if SPAGHETTI_RESOURCE_PROFILE_MINIMAL
	default 4 if SPAGHETTI_RESOURCE_PROFILE_STANDARD
	default 6

config SPAGHETTI_MAX_BLE_PEERS
	int
	range 1 8
	default 1 if SPAGHETTI_RESOURCE_PROFILE_MINIMAL
	default 2 if SPAGHETTI_RESOURCE_PROFILE_STANDARD
	default 4

config SPAGHETTI_MAX_PRINCIPALS
	int
	range 1 32
	default 4 if SPAGHETTI_RESOURCE_PROFILE_MINIMAL
	default 8 if SPAGHETTI_RESOURCE_PROFILE_STANDARD
	default 16

config SPAGHETTI_MAX_AUDIT_ENTRIES
	int
	range 1 64
	default 8 if SPAGHETTI_RESOURCE_PROFILE_MINIMAL
	default 16 if SPAGHETTI_RESOURCE_PROFILE_STANDARD
	default 32
	help
	  Bounded audit-ring capacity for principal-sensitive operations.

config SPAGHETTI_MAX_INFLIGHT_REQUESTS
	int
	range 1 32
	default 4 if SPAGHETTI_RESOURCE_PROFILE_MINIMAL
	default 8 if SPAGHETTI_RESOURCE_PROFILE_STANDARD
	default 16

config SPAGHETTI_MAX_SECURE_SESSIONS
	int
	range 1 1
	default 1 if SPAGHETTI_RESOURCE_PROFILE_MINIMAL
	default 1 if SPAGHETTI_RESOURCE_PROFILE_STANDARD
	default 1

config SPAGHETTI_SECURE_WORKSPACE_SIZE
	int
	range 16384 131072
	default 60000 if SPAGHETTI_RESOURCE_PROFILE_MINIMAL
	default 60000 if SPAGHETTI_RESOURCE_PROFILE_STANDARD
	default 65536

config SPAGHETTI_MAX_FLOWS
	int
	range 1 32
	default 2 if SPAGHETTI_RESOURCE_PROFILE_MINIMAL
	default 4 if SPAGHETTI_RESOURCE_PROFILE_STANDARD
	default 8

config SPAGHETTI_MAX_FUNCTION_BAYS_PER_FLOW
	int
	range 1 32
	default 3 if SPAGHETTI_RESOURCE_PROFILE_MINIMAL
	default 5 if SPAGHETTI_RESOURCE_PROFILE_STANDARD
	default 8

config SPAGHETTI_MAX_POWER_RAILS
	int
	range 1 32
	default 3 if SPAGHETTI_RESOURCE_PROFILE_MINIMAL
	default 4 if SPAGHETTI_RESOURCE_PROFILE_STANDARD
	default 8

config SPAGHETTI_PROTOCOL_REPLAY_WINDOW_MS
	int
	range 1000 600000
	default 30000 if SPAGHETTI_RESOURCE_PROFILE_MINIMAL
	default 60000 if SPAGHETTI_RESOURCE_PROFILE_STANDARD
	default 120000

config SPAGHETTI_MAX_HEALTH_COMPONENTS
	int "Maximum registered health components"
	range 1 32
	default 8 if SPAGHETTI_RESOURCE_PROFILE_MINIMAL
	default 12 if SPAGHETTI_RESOURCE_PROFILE_STANDARD
	default 16
	help
	  Fixed capacity for health descriptors collected from iterable sections.

config SPAGHETTI_MAX_HEALTH_WINDOWS
	int "Maximum simultaneous health silence windows"
	range 1 16
	default 2 if SPAGHETTI_RESOURCE_PROFILE_MINIMAL
	default 4 if SPAGHETTI_RESOURCE_PROFILE_STANDARD
	default 8
	help
	  Bounded pool for temporary OTA/flash silence extensions.
```

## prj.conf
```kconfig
CONFIG_SERIAL=y
CONFIG_CONSOLE=y
CONFIG_UART_CONSOLE=y
CONFIG_UART_INTERRUPT_DRIVEN=y
CONFIG_PRINTK=y
CONFIG_MAIN_STACK_SIZE=8192
CONFIG_LOG_PROCESS_THREAD_STACK_SIZE=768
CONFIG_LOG=y
CONFIG_SPAGHETTI_APP_LOG_LEVEL_INF=y
CONFIG_SPAGHETTI_CORE_LOG_LEVEL_INF=y
CONFIG_SPAGHETTI_DRIVER_REGISTRY_LOG_LEVEL_INF=y
CONFIG_SPAGHETTI_MODULE_MANAGER_LOG_LEVEL_INF=y
CONFIG_SPAGHETTI_DISCOVERY_LOG_LEVEL_INF=y
CONFIG_SPAGHETTI_CONFIG_LOG_LEVEL_INF=y
CONFIG_SPAGHETTI_STORAGE_LOG_LEVEL_INF=y
CONFIG_SPAGHETTI_UPDATE_LOG_LEVEL_INF=y
CONFIG_SPAGHETTI_MAINTENANCE_LINK_LOG_LEVEL_INF=y
CONFIG_SPAGHETTI_OTA_LOG_LEVEL_INF=y
CONFIG_SPAGHETTI_DATA_LOG_LEVEL_INF=y
CONFIG_SPAGHETTI_RUNTIME_LOG_LEVEL_INF=y
CONFIG_SPAGHETTI_COMMUNICATION_LOG_LEVEL_INF=y
CONFIG_SPAGHETTI_REMOTE_CONSOLE_LOG_LEVEL_INF=y
CONFIG_SPAGHETTI_BLE_LOG_LEVEL_INF=y
CONFIG_SPAGHETTI_MQTT_LOG_LEVEL_INF=y
CONFIG_SPAGHETTI_WIFI_PROFILES_LOG_LEVEL_INF=y
CONFIG_SPAGHETTI_INA219_LOG_LEVEL_INF=y
CONFIG_SPAGHETTI_RELAY_LOG_LEVEL_INF=y
CONFIG_SPAGHETTI_DEVICE_PROFILE_LOG_LEVEL_INF=y
CONFIG_SPAGHETTI_DECLARATIVE_DEVICE_LOG_LEVEL_INF=y
CONFIG_SPAGHETTI_INA219_MAX_INSTANCES=4
CONFIG_SPAGHETTI_RELAY_MAX_INSTANCES=4
CONFIG_SPAGHETTI_DECLARATIVE_DEVICE_MAX_INSTANCES=4
CONFIG_SPAGHETTI_RUNTIME_STACK_SIZE=3072
CONFIG_SPAGHETTI_RUNTIME_PRIORITY=4
CONFIG_SPAGHETTI_RUNTIME_STOP_TIMEOUT_MS=1000
CONFIG_SPAGHETTI_THRESHOLD_LOG_LEVEL_INF=y
CONFIG_SPAGHETTI_DATA_LOGGER_STACK_SIZE=2048
CONFIG_SPAGHETTI_UPDATE_WORK_STACK_SIZE=1024
CONFIG_SPAGHETTI_UPDATE_WORK_PRIORITY=5
CONFIG_SPAGHETTI_BOOTSTRAP_PROBE_MS=500
CONFIG_SPAGHETTI_TRIAL_HEALTH_MS=5000
CONFIG_SPAGHETTI_MAINTENANCE_SESSION_MS=300000
CONFIG_SPAGHETTI_MAINTENANCE_REBOOT_DELAY_MS=500
CONFIG_SPAGHETTI_OTA_PORT=1337
CONFIG_SPAGHETTI_OTA_MAX_WINDOW_MS=300000
CONFIG_SPAGHETTI_OTA_MTU=512
CONFIG_SPAGHETTI_OTA_LISTENER_STACK_SIZE=4096
CONFIG_SPAGHETTI_OTA_WORK_STACK_SIZE=1536
CONFIG_SPAGHETTI_OTA_WORK_PRIORITY=5
CONFIG_SPAGHETTI_MQTT_QUEUE_DEPTH=4
CONFIG_SPAGHETTI_MQTT_WORKER_STACK_SIZE=4096
CONFIG_SPAGHETTI_MQTT_ADAPTER_STACK_SIZE=1536
CONFIG_SPAGHETTI_MQTT_PRIORITY=5
CONFIG_SPAGHETTI_MQTT_STOP_TIMEOUT_MS=2000
CONFIG_SPAGHETTI_WIFI_PROFILE_MAX_COUNT=4
CONFIG_SPAGHETTI_WIFI_PROFILE_AUTO_CONNECT=y
CONFIG_SPAGHETTI_WIFI_PROFILE_WORKER_STACK_SIZE=4096
CONFIG_SPAGHETTI_WIFI_PROFILE_WORKER_PRIORITY=5
CONFIG_SPAGHETTI_WIFI_PROFILE_STARTUP_DELAY_MS=3000
CONFIG_SPAGHETTI_WIFI_SCAN_TIMEOUT_SECONDS=15
CONFIG_SPAGHETTI_WIFI_CONNECT_TIMEOUT_SECONDS=30
CONFIG_SPAGHETTI_WIFI_DISCONNECT_TIMEOUT_SECONDS=5
CONFIG_SPAGHETTI_WIFI_RETRY_SECONDS=30
CONFIG_SPAGHETTI_WIFI_PASSWORD_INPUT_TIMEOUT_SECONDS=60
CONFIG_I2C=y
CONFIG_GPIO=y
CONFIG_FLASH=y
CONFIG_FLASH_MAP=y
CONFIG_STREAM_FLASH=y
CONFIG_IMG_MANAGER=y
CONFIG_BOOTLOADER_MCUBOOT=y
CONFIG_REBOOT=y
CONFIG_PINCTRL_DYNAMIC=y
CONFIG_PINCTRL_KEEP_SLEEP_STATE=y
CONFIG_MCUMGR=y
CONFIG_BASE64=y
CONFIG_UART_MCUMGR=y
CONFIG_MCUMGR_TRANSPORT_UART=y
CONFIG_MCUMGR_TRANSPORT_UART_MTU=256
CONFIG_MCUMGR_TRANSPORT_NETBUF_SIZE=512
CONFIG_MCUMGR_TRANSPORT_NETBUF_USER_DATA_SIZE=32
CONFIG_MCUBOOT_BOOTLOADER_NO_DOWNGRADE=y
CONFIG_NVS=y
CONFIG_NVS_DATA_CRC=y
CONFIG_SETTINGS=y
CONFIG_SETTINGS_NVS=y
CONFIG_SECURE_STORAGE=y
CONFIG_SECURE_STORAGE_ITS_IMPLEMENTATION_ZEPHYR=y
CONFIG_SECURE_STORAGE_ITS_STORE_IMPLEMENTATION_SETTINGS=y
CONFIG_SECURE_STORAGE_ITS_MAX_DATA_SIZE=1600
CONFIG_SECURE_STORAGE_ITS_TRANSFORM_IMPLEMENTATION_AEAD=y
CONFIG_SECURE_STORAGE_ITS_TRANSFORM_AEAD_SCHEME_AES_GCM=y
CONFIG_SECURE_STORAGE_ITS_TRANSFORM_AEAD_KEY_PROVIDER_DEVICE_ID_HASH=y
CONFIG_SECURE_STORAGE_ITS_TRANSFORM_AEAD_NONCE_PROVIDER_DEFAULT=y
CONFIG_MBEDTLS=y
CONFIG_MBEDTLS_PSA_CRYPTO_C=y
CONFIG_SYS_HEAP_RUNTIME_STATS=y
CONFIG_THREAD_STACK_INFO=y
CONFIG_INIT_STACKS=y
CONFIG_DYNAMIC_THREAD=y
CONFIG_DYNAMIC_THREAD_ALLOC=y
CONFIG_DYNAMIC_THREAD_PREFER_ALLOC=y
CONFIG_HWINFO=y
CONFIG_ZCBOR=y
# Default Core V1 image is Wi-Fi + MQTT. BLE is `make build-ble` (overlay-ble.conf).
CONFIG_NETWORKING=y
CONFIG_WIFI=y
CONFIG_WIFI_ESP32=y
CONFIG_NET_IPV4=y
CONFIG_NET_IPV6=n
CONFIG_NET_TCP=y
CONFIG_NET_SOCKETS=y
CONFIG_NET_UDP=y
CONFIG_NET_SOCKETS_SOCKOPT_TLS=y
CONFIG_NET_SOCKETS_ENABLE_DTLS=y
CONFIG_NET_SOCKETS_DTLS_MAX_FRAGMENT_LENGTH=512
CONFIG_NET_SOCKETS_TLS_MAX_CONTEXTS=4
CONFIG_NET_SOCKETS_TLS_MAX_CREDENTIALS=4
CONFIG_NET_SOCKETS_TLS_MAX_CLIENT_SESSION_COUNT=2
CONFIG_NET_MGMT=y
CONFIG_NET_MGMT_EVENT=y
CONFIG_NET_DHCPV4=y
CONFIG_DNS_RESOLVER=y
CONFIG_MQTT_LIB=y
CONFIG_MBEDTLS_SSL_PROTO_TLS1_2=y
CONFIG_MBEDTLS_SSL_PROTO_DTLS=y
CONFIG_MBEDTLS_KEY_EXCHANGE_PSK_ENABLED=y
CONFIG_MBEDTLS_CIPHERSUITE_TLS_PSK_WITH_AES_128_GCM_SHA256=y
CONFIG_ZBUS=y
CONFIG_ZBUS_MSG_SUBSCRIBER=y
CONFIG_ZBUS_PREFER_DYNAMIC_ALLOCATION=n
CONFIG_ZBUS_MSG_SUBSCRIBER_BUF_ALLOC_STATIC=y
CONFIG_ZBUS_MSG_SUBSCRIBER_NET_BUF_POOL_SIZE=8
CONFIG_ZBUS_MSG_SUBSCRIBER_NET_BUF_STATIC_DATA_SIZE=768
CONFIG_SHELL=y
CONFIG_SHELL_BACKEND_SERIAL=y
CONFIG_SHELL_CMD_BUFF_SIZE=600
CONFIG_SHELL_STACK_SIZE=5120
CONFIG_CBPRINTF_FP_SUPPORT=y
CONFIG_NET_L2_WIFI_SHELL=y
CONFIG_CRC=y
```

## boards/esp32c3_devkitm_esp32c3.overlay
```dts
/ {
	chosen {
		zephyr,console = &usb_serial;
		zephyr,shell-uart = &usb_serial;
	};
};

&pinctrl {
	spaghetti_i2c0_default: spaghetti_i2c0_default {
		group1 {
			pinmux = <I2C0_SDA_GPIO3>, <I2C0_SCL_GPIO4>;
			bias-pull-up;
			drive-open-drain;
			output-high;
		};
	};
};

&i2c0 {
	status = "okay";
	clock-frequency = <I2C_BITRATE_STANDARD>;
	pinctrl-0 = <&spaghetti_i2c0_default>;
	pinctrl-names = "default";

	/* TEMPORARY SHORTCUT: rimosso in TASK-080-01. */
	ina219_test: ina219@40 {
		status = "okay";
		compatible = "ti,ina219";
		reg = <0x40>;
		shunt-milliohm = <100>;
		lsb-microamp = <200>;
	};
};
```

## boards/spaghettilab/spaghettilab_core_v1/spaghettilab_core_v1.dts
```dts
/dts-v1/;

#include <espressif/esp32c3/esp32c3_mini_n4.dtsi>
#include <espressif/partitions_0x0_default.dtsi>
#include <zephyr/dt-bindings/pinctrl/esp-pinctrl-common.h>
#include <zephyr/dt-bindings/pinctrl/esp32c3-pinctrl.h>
#include <zephyr/dt-bindings/pinctrl/esp32c3-gpio-sigmap.h>

/ {
	model = "Spaghetti LAB Core V1";
	compatible = "spaghettilab,core-v1", "espressif,esp32c3";

	chosen {
		zephyr,sram = &sram1;
		zephyr,console = &usb_serial;
		zephyr,shell-uart = &usb_serial;
		zephyr,flash = &flash0;
		zephyr,code-partition = &slot0_partition;
		zephyr,uart-mcumgr = &uart1;
		zephyr,bt-hci = &esp32_bt_hci;
	};

	aliases {
		i2c-0 = &i2c0;
	};

	spaghetti_ports {
		compatible = "simple-bus";
		#address-cells = <1>;
		#size-cells = <0>;

		port0: port@0 {
			compatible = "spaghettilab,port";
			reg = <0>;
			i2c = <&i2c0>;
			status = "okay";
		};
	};

	spaghetti_flows {
		compatible = "simple-bus";
		#address-cells = <1>;
		#size-cells = <0>;

		flow0: flow@0 {
			compatible = "spaghettilab,flow";
			reg = <0>;
			port = <&port0>;
			direction = "field-to-core";
			signal-count = <5>;
			function-bay-count = <0>;
			status = "okay";
		};
	};

	maintenance_link0: maintenance-link {
		compatible = "spaghettilab,maintenance-link";
		normal-bus = <&i2c0>;
		maintenance-uart = <&uart1>;
		bootstrap-window-ms = <500>;
		status = "okay";
	};
};

&pinctrl {
	spaghetti_i2c0_default: spaghetti_i2c0_default {
		group1 {
			pinmux = <I2C0_SDA_GPIO3>, <I2C0_SCL_GPIO4>;
			bias-pull-up;
			drive-open-drain;
			output-high;
		};
	};

	spaghetti_uart1_maintenance: spaghetti_uart1_maintenance {
		group1 {
			pinmux = <UART1_RX_GPIO3>, <UART1_TX_GPIO4>;
		};
	};

	spaghetti_uart1_probe: spaghetti_uart1_probe {
		group1 {
			pinmux = <UART1_RX_GPIO3>;
			bias-pull-up;
		};
	};
};

&usb_serial {
	status = "okay";
};

&i2c0 {
	status = "okay";
	clock-frequency = <I2C_BITRATE_STANDARD>;
	pinctrl-0 = <&spaghetti_i2c0_default>;
	pinctrl-names = "default";
};

&uart1 {
	status = "okay";
	current-speed = <115200>;
	pinctrl-0 = <&spaghetti_uart1_probe>;
	pinctrl-1 = <&spaghetti_uart1_maintenance>;
	pinctrl-names = "default", "sleep";
};

&gpio0 {
	status = "okay";
};

&trng0 {
	status = "okay";
};

&wifi {
	status = "okay";
};

&esp32_bt_hci {
	status = "okay";
};
```

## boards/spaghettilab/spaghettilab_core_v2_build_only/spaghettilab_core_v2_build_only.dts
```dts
/*
 * Build-only topology. Pin and connector assignments are simulated and must
 * not be used to flash physical hardware.
 */

/dts-v1/;

#include <espressif/esp32c3/esp32c3_mini_n4.dtsi>
#include <espressif/partitions_0x0_default.dtsi>
#include <zephyr/dt-bindings/pinctrl/esp-pinctrl-common.h>
#include <zephyr/dt-bindings/pinctrl/esp32c3-pinctrl.h>
#include <zephyr/dt-bindings/pinctrl/esp32c3-gpio-sigmap.h>

/ {
	model = "Spaghetti LAB Core V2 Build-Only";
	compatible = "spaghettilab,core-v2-build-only", "espressif,esp32c3";

	chosen {
		zephyr,sram = &sram1;
		zephyr,console = &usb_serial;
		zephyr,shell-uart = &usb_serial;
		zephyr,flash = &flash0;
		zephyr,code-partition = &slot0_partition;
		zephyr,uart-mcumgr = &uart1;
	};

	aliases {
		i2c-0 = &i2c0;
	};

	spaghetti_ports {
		compatible = "simple-bus";
		#address-cells = <1>;
		#size-cells = <0>;

		port0: port@0 {
			compatible = "spaghettilab,port";
			reg = <0>;
			i2c = <&i2c0>;
			status = "okay";
		};

		port1: port@1 {
			compatible = "spaghettilab,port";
			reg = <1>;
			i2c = <&i2c0>;
			status = "okay";
		};
	};

	spaghetti_flows {
		compatible = "simple-bus";
		#address-cells = <1>;
		#size-cells = <0>;

		flow0: flow@0 {
			compatible = "spaghettilab,flow";
			reg = <0>;
			port = <&port0>;
			direction = "field-to-core";
			signal-count = <5>;
			function-bay-count = <0>;
			status = "okay";
		};

		flow1: flow@1 {
			compatible = "spaghettilab,flow";
			reg = <1>;
			port = <&port1>;
			direction = "core-to-field";
			signal-count = <5>;
			function-bay-count = <0>;
			status = "okay";
		};
	};

	maintenance_link0: maintenance-link {
		compatible = "spaghettilab,maintenance-link";
		normal-bus = <&i2c0>;
		maintenance-uart = <&uart1>;
		bootstrap-window-ms = <500>;
		status = "okay";
	};
};

&pinctrl {
	spaghetti_i2c0_default: spaghetti_i2c0_default {
		group1 {
			pinmux = <I2C0_SDA_GPIO5>, <I2C0_SCL_GPIO6>;
			bias-pull-up;
			drive-open-drain;
			output-high;
		};
	};

	spaghetti_uart1_maintenance: spaghetti_uart1_maintenance {
		group1 {
			pinmux = <UART1_RX_GPIO5>, <UART1_TX_GPIO6>;
		};
	};

	spaghetti_uart1_probe: spaghetti_uart1_probe {
		group1 {
			pinmux = <UART1_RX_GPIO5>;
			bias-pull-up;
		};
	};
};

&usb_serial {
	status = "okay";
};

&i2c0 {
	status = "okay";
	clock-frequency = <I2C_BITRATE_STANDARD>;
	pinctrl-0 = <&spaghetti_i2c0_default>;
	pinctrl-names = "default";
};

&uart1 {
	status = "okay";
	current-speed = <115200>;
	pinctrl-0 = <&spaghetti_uart1_probe>;
	pinctrl-1 = <&spaghetti_uart1_maintenance>;
	pinctrl-names = "default", "sleep";
};

&gpio0 {
	status = "okay";
};

&trng0 {
	status = "okay";
};

&wifi {
	status = "okay";
};
```

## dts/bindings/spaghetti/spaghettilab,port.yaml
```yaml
description: Physical Spaghetti LAB module Port

compatible: "spaghettilab,port"

include: base.yaml

properties:
  reg:
    required: true
    description: Stable logical Port identifier used by runtime configuration

  i2c:
    type: phandle
    required: false
    description: Optional Zephyr I2C controller wired to this shared Port

  spi:
    type: phandle
    required: false
    description: Optional Zephyr SPI controller wired to this shared Port

  spi-cs-gpios:
    type: phandle-array
    required: false
    description: Optional chip-select GPIOs owned by the SPI controller path

  uart:
    type: phandle
    required: false
    description: Optional Zephyr UART controller for an exclusive Port endpoint

  input-gpios:
    type: phandle-array
    required: false
    description: Optional digital input lines mapped to connector signal indices

  output-gpios:
    type: phandle-array
    required: false
    description: Optional digital output lines mapped to connector signal indices

  io-channels:
    type: phandle-array
    required: false
    description: Optional ADC channels mapped to connector signal indices

  w1:
    type: phandle
    required: false
    description: Optional Zephyr 1-Wire controller wired to this shared Port
```

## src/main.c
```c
#include <zephyr/kernel.h>
#include <zephyr/logging/log.h>

#include <spaghetti/core.h>

LOG_MODULE_REGISTER(spaghetti_app, CONFIG_SPAGHETTI_APP_LOG_LEVEL);

int main(void)
{
	k_sleep(K_SECONDS(5));
	LOG_INF("Spaghetti LAB boot");

	int err = spaghetti_core_init();

	if (err < 0) {
		LOG_ERR("Spaghetti Core initialization failed: %d", err);
		return err;
	}

	return 0;
}
```
